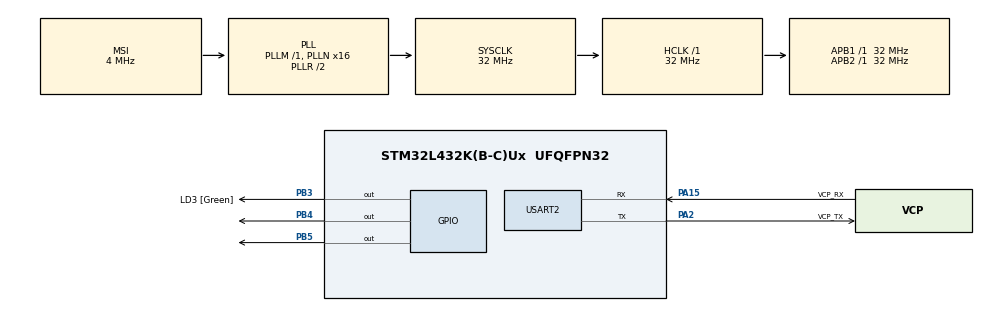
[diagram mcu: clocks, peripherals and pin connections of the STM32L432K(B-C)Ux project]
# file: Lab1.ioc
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Mcu.Family=STM32L4
Mcu.Name=STM32L432K(B-C)Ux
Mcu.Package=UFQFPN32
NVIC.PriorityGroup=NVIC_PRIORITYGROUP_4
PA0.GPIO_Label=MCO [High speed clock in]
PA0.Mode=HSE-External-Clock-Source-for-LittleOrca
PA0.Signal=RCC_CK_IN
PA13\ (JTMS-SWDIO).GPIO_Label=SWDIO
PA13\ (JTMS-SWDIO).Mode=Serial_Wire
PA13\ (JTMS-SWDIO).Signal=SYS_JTMS-SWDIO
PA14\ (JTCK-SWCLK).GPIO_Label=SWCLK
PA14\ (JTCK-SWCLK).Mode=Serial_Wire
PA14\ (JTCK-SWCLK).Signal=SYS_JTCK-SWCLK
PA15\ (JTDI).GPIO_Label=VCP_RX
PA15\ (JTDI).Mode=Asynchronous
PA15\ (JTDI).Signal=USART2_RX
PA2.GPIO_Label=VCP_TX
PA2.Mode=Asynchronous
PA2.Signal=USART2_TX
PB3\ (JTDO-TRACESWO).GPIO_Label=LD3 [Green]
PB3\ (JTDO-TRACESWO).GPIO_PuPd=GPIO_PULLDOWN
PB3\ (JTDO-TRACESWO).GPIO_Speed=GPIO_SPEED_FREQ_LOW
PB3\ (JTDO-TRACESWO).Signal=GPIO_Output
PB4\ (NJTRST).GPIO_PuPd=GPIO_PULLDOWN
PB4\ (NJTRST).PinState=GPIO_PIN_RESET
PB4\ (NJTRST).Signal=GPIO_Output
PB5.GPIO_PuPd=GPIO_PULLDOWN
PB5.Signal=GPIO_Output
PC14-OSC32_IN\ (PC14).Mode=LSE-External-Oscillator
PC14-OSC32_IN\ (PC14).Signal=RCC_OSC32_IN
PC15-OSC32_OUT\ (PC15).Mode=LSE-External-Oscillator
PC15-OSC32_OUT\ (PC15).Signal=RCC_OSC32_OUT
ProjectManager.HeapSize=0x200
ProjectManager.StackSize=0x400
ProjectManager.TargetToolchain=STM32CubeIDE
RCC.AHBFreq_Value=32000000
RCC.APB1Freq_Value=32000000
RCC.APB1TimFreq_Value=32000000
RCC.APB2Freq_Value=32000000
RCC.APB2TimFreq_Value=32000000
RCC.CortexFreq_Value=32000000
RCC.HCLKFreq_Value=32000000
RCC.HSE_VALUE=8000000
RCC.HSI16_VALUE=16000000
RCC.HSI48_VALUE=48000000
RCC.HSI_VALUE=16000000
RCC.MSI_VALUE=4000000
RCC.PLLMUL=RCC_PLLMUL_4
RCC.PLLN=16
RCC.SYSCLKFreq_VALUE=32000000
RCC.SYSCLKSource=RCC_SYSCLKSOURCE_PLLCLK
RCC.VCOOutputFreq_Value=64000000
USART2.VirtualMode-Asynchronous=VM_ASYNC
board=NUCLEO-L432KC

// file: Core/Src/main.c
/* USER CODE BEGIN Header */
/**
  ******************************************************************************
  * @file           : main.c
  * @brief          : Main program body
  ******************************************************************************
  * @attention
  *
  * <h2><center>&copy; Copyright (c) 2021 STMicroelectronics.
  * All rights reserved.</center></h2>
  *
  * This software component is licensed by ST under BSD 3-Clause license,
  * the "License"; You may not use this file except in compliance with the
  * License. You may obtain a copy of the License at:
  *                        opensource.org/licenses/BSD-3-Clause
  *
  ******************************************************************************
  */
/* USER CODE END Header */
/*
 * FILE          : main.c
 * PROJECT       : 4DS4 - Lab Assignment #1
 * PROGRAMMER    : Uday Sharma, Vivek Patel
 * FIRST VERSION : 2021-01-31
 * DESCRIPTION   :
 *   The functions in this file are used to output both Programmers' initials in morse code.
 *   Mapped to PB4 and PB5, Red color displays the first initials, Green displays the second*/
#include "main.h"

UART_HandleTypeDef huart2;

void SystemClock_Config(void);
static void MX_GPIO_Init(void);
static void MX_USART2_UART_Init(void);
/* USER CODE BEGIN PFP */
void morseCode(char letter, uint16_t pin); //converts any character to morse
void dot(uint16_t pin); //dot
void dash(uint16_t pin);// green
void lStop();//stop between parts of the same letter
void wStop();//stop between two letters
void iStop();//stop between consecutive initials
/* USER CODE END PFP */

int main(void)
{

  /* MCU Configuration--------------------------------------------------------*/

  /* Reset of all peripherals, Initializes the Flash interface and the Systick. */
  HAL_Init();

  /* Configure the system clock */
  SystemClock_Config();

  /* Initialize all configured peripherals */
  MX_GPIO_Init();
  MX_USART2_UART_Init();

  /* Infinite loop */
  while (1)
  {

	  //Vivek Patel
	  //Red First letter
	  morseCode('v',GPIO_PIN_4);
	  wStop();

	  //Green second letter
	  morseCode('p',GPIO_PIN_5);
	  iStop();

	  //Uday Sharma
	  //Red First letter
	  morseCode('u',GPIO_PIN_4);
	  wStop();

	  //green second letter
	  morseCode('s',GPIO_PIN_5);
	  iStop();

  }
}

void SystemClock_Config(void)
{
  RCC_OscInitTypeDef RCC_OscInitStruct = {0};
  RCC_ClkInitTypeDef RCC_ClkInitStruct = {0};
  RCC_PeriphCLKInitTypeDef PeriphClkInit = {0};

  /** Configure LSE Drive Capability
  */
  HAL_PWR_EnableBkUpAccess();
  __HAL_RCC_LSEDRIVE_CONFIG(RCC_LSEDRIVE_LOW);
  /** Initializes the RCC Oscillators according to the specified parameters
  * in the RCC_OscInitTypeDef structure.
  */
  RCC_OscInitStruct.OscillatorType = RCC_OSCILLATORTYPE_LSE|RCC_OSCILLATORTYPE_MSI;
  RCC_OscInitStruct.LSEState = RCC_LSE_ON;
  RCC_OscInitStruct.MSIState = RCC_MSI_ON;
  RCC_OscInitStruct.MSICalibrationValue = 0;
  RCC_OscInitStruct.MSIClockRange = RCC_MSIRANGE_6;
  RCC_OscInitStruct.PLL.PLLState = RCC_PLL_ON;
  RCC_OscInitStruct.PLL.PLLSource = RCC_PLLSOURCE_MSI;
  RCC_OscInitStruct.PLL.PLLM = 1;
  RCC_OscInitStruct.PLL.PLLN = 16;
  RCC_OscInitStruct.PLL.PLLP = RCC_PLLP_DIV7;
  RCC_OscInitStruct.PLL.PLLQ = RCC_PLLQ_DIV2;
  RCC_OscInitStruct.PLL.PLLR = RCC_PLLR_DIV2;
  if (HAL_RCC_OscConfig(&RCC_OscInitStruct) != HAL_OK)
  {
    Error_Handler();
  }
  /** Initializes the CPU, AHB and APB buses clocks
  */
  RCC_ClkInitStruct.ClockType = RCC_CLOCKTYPE_HCLK|RCC_CLOCKTYPE_SYSCLK
                              |RCC_CLOCKTYPE_PCLK1|RCC_CLOCKTYPE_PCLK2;
  RCC_ClkInitStruct.SYSCLKSource = RCC_SYSCLKSOURCE_PLLCLK;
  RCC_ClkInitStruct.AHBCLKDivider = RCC_SYSCLK_DIV1;
  RCC_ClkInitStruct.APB1CLKDivider = RCC_HCLK_DIV1;
  RCC_ClkInitStruct.APB2CLKDivider = RCC_HCLK_DIV1;

  if (HAL_RCC_ClockConfig(&RCC_ClkInitStruct, FLASH_LATENCY_1) != HAL_OK)
  {
    Error_Handler();
  }
  PeriphClkInit.PeriphClockSelection = RCC_PERIPHCLK_USART2;
  PeriphClkInit.Usart2ClockSelection = RCC_USART2CLKSOURCE_PCLK1;
  if (HAL_RCCEx_PeriphCLKConfig(&PeriphClkInit) != HAL_OK)
  {
    Error_Handler();
  }
  /** Configure the main internal regulator output voltage
  */
  if (HAL_PWREx_ControlVoltageScaling(PWR_REGULATOR_VOLTAGE_SCALE1) != HAL_OK)
  {
    Error_Handler();
  }
  /** Enable MSI Auto calibration
  */
  HAL_RCCEx_EnableMSIPLLMode();
}

static void MX_USART2_UART_Init(void)
{

  huart2.Instance = USART2;
  huart2.Init.BaudRate = 115200;
  huart2.Init.WordLength = UART_WORDLENGTH_8B;
  huart2.Init.StopBits = UART_STOPBITS_1;
  huart2.Init.Parity = UART_PARITY_NONE;
  huart2.Init.Mode = UART_MODE_TX_RX;
  huart2.Init.HwFlowCtl = UART_HWCONTROL_NONE;
  huart2.Init.OverSampling = UART_OVERSAMPLING_16;
  huart2.Init.OneBitSampling = UART_ONE_BIT_SAMPLE_DISABLE;
  huart2.AdvancedInit.AdvFeatureInit = UART_ADVFEATURE_NO_INIT;
  if (HAL_UART_Init(&huart2) != HAL_OK)
  {
    Error_Handler();
  }

}

static void MX_GPIO_Init(void)
{
  GPIO_InitTypeDef GPIO_InitStruct = {0};

  /* GPIO Ports Clock Enable */
  __HAL_RCC_GPIOC_CLK_ENABLE();
  __HAL_RCC_GPIOA_CLK_ENABLE();
  __HAL_RCC_GPIOB_CLK_ENABLE();

  /*Configure GPIO pin Output Level */
  HAL_GPIO_WritePin(GPIOB, LD3_Pin|GPIO_PIN_4|GPIO_PIN_5, GPIO_PIN_RESET);

  /*Configure GPIO pins : LD3_Pin PB4 PB5 */
  GPIO_InitStruct.Pin = LD3_Pin|GPIO_PIN_4|GPIO_PIN_5;
  GPIO_InitStruct.Mode = GPIO_MODE_OUTPUT_PP;
  GPIO_InitStruct.Pull = GPIO_PULLDOWN;
  GPIO_InitStruct.Speed = GPIO_SPEED_FREQ_LOW;
  HAL_GPIO_Init(GPIOB, &GPIO_InitStruct);

}

/* USER CODE BEGIN 4 */
void morseCode(char letter, uint16_t pin)
{
	switch(letter){
	case 'a':
	  dot(pin);
	  lStop();
	  dash(pin);
	  break;
	case 'b':
	  dash(pin);
	  lStop();
	  dot(pin);
	  lStop();
	  dot(pin);
	  lStop();
	  dot(pin);
	  break;
	case 'c':
	  dash(pin);
	  lStop();
	  dot(pin);
	  lStop();
	  dash(pin);
	  lStop();
      dot(pin);
	  break;
	case 'd':
	  dash(pin);
	  lStop();
	  dot(pin);
	  lStop();
	  dot(pin);
	  break;
	case 'e':
	  dot(pin);
	  break;
	case 'f':
	  dot(pin);
	  lStop();
	  dot(pin);
	  lStop();
	  dash(pin);
	  lStop();
	  dot(pin);
	  break;
	case 'g':
	  dash(pin);
	  lStop();
	  dash(pin);
	  lStop();
	  dot(pin);
	case 'h':
	  dot(pin);
	  lStop();
	  dot(pin);
	  lStop();
	  dot(pin);
	  lStop();
	  dot(pin);
	  break;
	case 'i':
	  dot(pin);
	  lStop();
	  dot(pin);
	  break;
	case 'j':
	  dot(pin);
	  lStop();
	  dash(pin);
	  lStop();
	  dash(pin);
	  lStop();
	  dash(pin);
	  break;
	case 'k':
	  dash(pin);
	  lStop();
	  dot(pin);
	  lStop();
	  dash(pin);
	  break;
	case 'l':
	  dot(pin);
	  lStop();
	  dash(pin);
	  lStop();
	  dot(pin);
	  lStop();
	  dot(pin);
	  break;
	case 'm':
	  dash(pin);
	  lStop();
	  dash(pin);
	  break;
	case 'n':
	  dash(pin);
	  lStop();
	  dot(pin);
	  break;
	case 'o':
	  dash(pin);
	  lStop();
	  dash(pin);
	  lStop();
	  dash(pin);
	  break;
	case 'p':
	  dot(pin);
	  lStop();
	  dash(pin);
	  lStop();
	  dash(pin);
	  lStop();
	  dot(pin);
	  break;
	case 'q':
	  dash(pin);
	  lStop();
	  dash(pin);
	  lStop();
	  dot(pin);
	  lStop();
	  dash(pin);
	  break;
	case 'r':
      dot(pin);
	  lStop();
	  dash(pin);
	  lStop();
	  dot(pin);
	  break;
	case 's':
	  dot(pin);
	  lStop();
	  dot(pin);
	  lStop();
	  dot(pin);
	  break;
	case 't':
	  dash(pin);
	  break;
	case 'u':
	  dot(pin);
	  lStop();
	  dot(pin);
	  lStop();
	  dash(pin);
	  break;
	case 'v':
	  dot(pin);
	  lStop();
	  dot(pin);
	  lStop();
	  dot(pin);
	  lStop();
	  dash(pin);
	  break;
	case 'w':
	  dot(pin);
	  lStop();
	  dash(pin);
	  lStop();
	  dash(pin);
	  break;
	case 'x':
	  dash(pin);
	  lStop();
	  dot(pin);
	  lStop();
	  dot(pin);
	  lStop();
	  dash(pin);
	  break;
	case 'y':
	  dash(pin);
	  lStop();
	  dot(pin);
	  lStop();
	  dash(pin);
	  lStop();
	  dash(pin);
	  break;
	case 'z':
	  dash(pin);
	  lStop();
	  dash(pin);
	  lStop();
	  dot(pin);
	  lStop();
	  dot(pin);
	  break;
	}
}

//
// FUNCTION      : dot{color} and dash{color} functions
// DESCRIPTION  :
//   These functions set the output for GPIO pins respective to where an RGB LED
//   is wired in. Then it leaves it on by using the HAL_DELAY() function as specific
//   in the acceptance criteria for this assignment, after which the pin is set to 0
//	 to turn the LED off.
// PARAMETERS    :
//   null
// RETURNS       :
//   void
//

void dot(uint16_t pin)
{
	HAL_GPIO_WritePin(GPIOB, pin, GPIO_PIN_SET);
	HAL_Delay(500);
	HAL_GPIO_WritePin(GPIOB, pin, 0);

}

void dash(uint16_t pin)
{
	HAL_GPIO_WritePin(GPIOB, pin, GPIO_PIN_SET);
	HAL_Delay(1500);
	HAL_GPIO_WritePin(GPIOB, pin, 0);
}

void lStop()
{
	HAL_Delay(500);
}
void wStop()
{
	HAL_Delay(1500);
}
void iStop()
{
	HAL_Delay(2500);
}
/* USER CODE END 4 */

void Error_Handler(void)
{
  __disable_irq();
  while (1)
  {
  }
}

/************************ (C) COPYRIGHT STMicroelectronics *****END OF FILE****/
